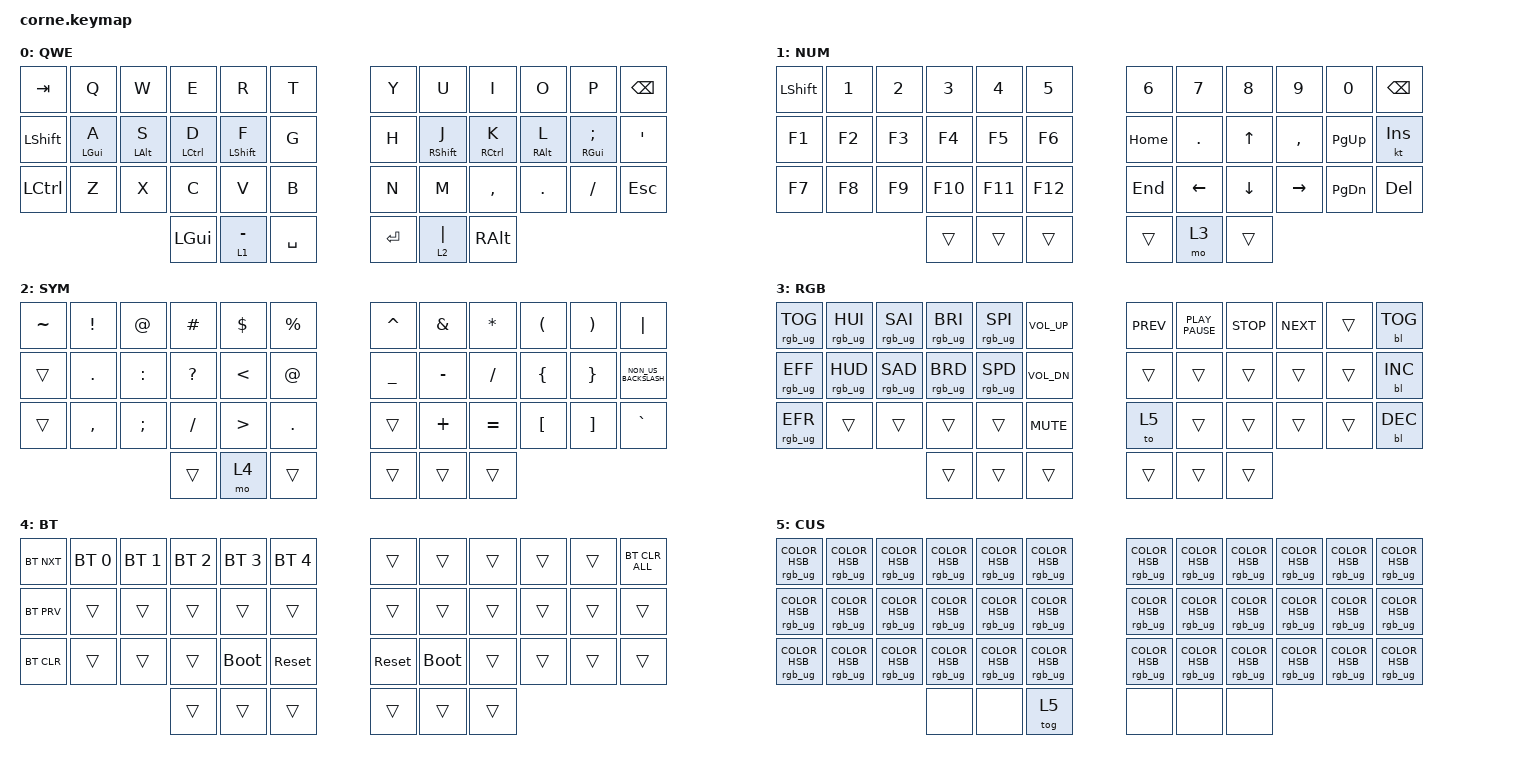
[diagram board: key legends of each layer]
/*
 * Copyright (c) 2020 The ZMK Contributors
 *
 * SPDX-License-Identifier: MIT
 */

#include <behaviors.dtsi>
#include <dt-bindings/zmk/backlight.h>
#include <dt-bindings/zmk/bt.h>
#include <dt-bindings/zmk/keys.h>
#include <dt-bindings/zmk/keys.h>
#include <dt-bindings/zmk/rgb.h>

/ {
    behaviors {
        hm: homerow_mods {
            compatible = "zmk,behavior-hold-tap";
            label = "HOMEROW_MODS";
            #binding-cells = <2>;
            tapping-term-ms = <200>;
            quick_tap_ms = <0>;
            flavor = "tap-preferred";
            bindings = <&kp>, <&kp>;

            quick-tap-ms = <180>;
            global-quick-tap;
        };

        ltq: ltq {
            compatible = "zmk,behavior-hold-tap";
            label = "LTQ";
            bindings = <&mo>, <&kp>;

            #binding-cells = <2>;
            tapping-term-ms = <600>;
            global-quick-tap;
            quick-tap-ms = <400>;
        };
    };

    combos {
        compatible = "zmk,combos";

        capswords {
            bindings = <&caps_word>;
            key-positions = <23 12>;
        };
        caps_lock {
            bindings = <&kp CAPS>;
            key-positions = <24 35>;
        };

        left_par {
            bindings = <&kp LEFT_PARENTHESIS>;
            key-positions = <3 4>;
            timeout-ms = < 100>;
        };

        right_par {
            bindings = <&kp RIGHT_PARENTHESIS>;
            key-positions = <7 8>;
            timeout-ms = <100>;
        };

        left_brace {
            bindings = <&kp LEFT_BRACE>;
            key-positions = <15 16>;
            timeout-ms = <100>;
        };

        right_brace {
            bindings = <&kp RIGHT_BRACE>;
            key-positions = <19 20>;
            timeout-ms = <100>;
        };

        left_bkt {
            bindings = <&kp LEFT_BRACKET>;
            key-positions = <27 28>;
            timeout-ms = <100>;
        };

        right_bkt {
            bindings = <&kp RBKT>;
            key-positions = <31 32>;
            timeout-ms = <100>;
        };

        pipe {
            bindings = <&kp PIPE>;
            key-positions = <5 6>;
            timeout-ms = <100>;
        };

        bac {
            bindings = <&kp BACKSLASH>;
            key-positions = <17 18>;
            timeout-ms = <100>;
        };

        slash {
            bindings = <&kp SLASH>;
            key-positions = <29 30>;
        };

        less_than {
            bindings = <&kp LESS_THAN>;
            key-positions = <3 2>;
        };

        greater_than {
            bindings = <&kp GREATER_THAN>;
            key-positions = <8 9>;
        };

        SQ {
            bindings = <&kp SINGLE_QUOTE>;
            key-positions = <14 15>;
        };

        DQ {
            bindings = <&kp DOUBLE_QUOTES>;
            key-positions = <21 20>;
        };

    };

    keymap {
        compatible = "zmk,keymap";

        QWE {
            bindings = <
&kp TAB           &kp Q           &kp W           &kp E         &kp R             &kp T        &kp Y      &kp U         &kp I          &kp O            &kp P               &kp BSPC
&kp LEFT_SHIFT    &hm LEFT_GUI A  &hm LEFT_ALT S  &hm LCTRL D   &hm LEFT_SHIFT F  &kp G        &kp H      &hm RSHIFT J  &hm RCTRL K    &hm RIGHT_ALT L  &hm RGUI SEMICOLON  &kp SQT
&kp LEFT_CONTROL  &kp Z           &kp X           &kp C         &kp V             &kp B        &kp N      &kp M         &kp COMMA      &kp DOT          &kp FSLH            &kp ESC
                                                  &kp LEFT_GUI  &ltq 1 MINUS      &kp SPACE    &kp ENTER  &ltq 2 PIPE   &kp RIGHT_ALT
            >;
        };

        NUM {
            bindings = <
&kp LEFT_SHIFT  &kp N1  &kp N2  &kp N3   &kp N4   &kp N5     &kp N6    &kp N7    &kp N8    &kp N9     &kp N0         &kp BSPC
&kp F1          &kp F2  &kp F3  &kp F4   &kp F5   &kp F6     &kp HOME  &kp DOT   &kp UP    &kp COMMA  &kp PAGE_UP    &kt INSERT
&kp F7          &kp F8  &kp F9  &kp F10  &kp F11  &kp F12    &kp END   &kp LEFT  &kp DOWN  &kp RIGHT  &kp PAGE_DOWN  &kp DELETE
                                &trans   &trans   &trans     &trans    &mo 3     &trans
            >;
        };

        SYM {
            bindings = <
&kp TILDE  &kp EXCLAMATION  &kp AT_SIGN  &kp POUND     &kp DOLLAR        &kp PERCENT    &kp CARET       &kp AMPERSAND  &kp ASTERISK  &kp LEFT_PARENTHESIS  &kp RIGHT_PARENTHESIS  &kp PIPE
&trans     &kp DOT          &kp COLON    &kp QUESTION  &kp LESS_THAN     &kp AT         &kp UNDERSCORE  &kp MINUS      &kp SLASH     &kp LEFT_BRACE        &kp RIGHT_BRACE        &kp NON_US_BACKSLASH
&trans     &kp COMMA        &kp SEMI     &kp SLASH     &kp GREATER_THAN  &kp DOT        &trans          &kp PLUS       &kp EQUAL     &kp LEFT_BRACKET      &kp RIGHT_BRACKET      &kp GRAVE
                                         &trans        &mo 4             &trans         &trans          &trans         &trans
            >;
        };

        RGB {
            bindings = <
&rgb_ug RGB_TOG  &rgb_ug RGB_HUI  &rgb_ug RGB_SAI  &rgb_ug RGB_BRI  &rgb_ug RGB_SPI  &kp C_VOLUME_UP    &kp K_PREV  &kp K_PLAY_PAUSE  &kp K_STOP  &kp K_NEXT  &trans  &bl BL_TOG
&rgb_ug RGB_EFF  &rgb_ug RGB_HUD  &rgb_ug RGB_SAD  &rgb_ug RGB_BRD  &rgb_ug RGB_SPD  &kp C_VOL_DN       &trans      &trans            &trans      &trans      &trans  &bl BL_INC
&rgb_ug RGB_EFR  &trans           &trans           &trans           &trans           &kp K_MUTE         &to 5       &trans            &trans      &trans      &trans  &bl BL_DEC
                                                   &trans           &trans           &trans             &trans      &trans            &trans
            >;
        };

        BT {
            bindings = <
&bt BT_NXT  &bt BT_SEL 0  &bt BT_SEL 1  &bt BT_SEL 2  &bt BT_SEL 3  &bt BT_SEL 4    &trans      &trans       &trans  &trans  &trans  &bt BT_CLR_ALL
&bt BT_PRV  &trans        &trans        &trans        &trans        &trans          &trans      &trans       &trans  &trans  &trans  &trans
&bt BT_CLR  &trans        &trans        &trans        &bootloader   &sys_reset      &sys_reset  &bootloader  &trans  &trans  &trans  &trans
                                        &trans        &trans        &trans          &trans      &trans       &trans
            >;
        };

        CUS {
            bindings = <
&rgb_ug RGB_COLOR_HSB(0,79,61)   &rgb_ug RGB_COLOR_HSB(30,67,58)   &rgb_ug RGB_COLOR_HSB(60,73,65)   &rgb_ug RGB_COLOR_HSB(90,86,62)   &rgb_ug RGB_COLOR_HSB(120,74,59)   &rgb_ug RGB_COLOR_HSB(150,67,57)     &rgb_ug RGB_COLOR_HSB(180,72,60)   &rgb_ug RGB_COLOR_HSB(210,82,61)   &rgb_ug RGB_COLOR_HSB(240,88,62)   &rgb_ug RGB_COLOR_HSB(270,88,63)   &rgb_ug RGB_COLOR_HSB(300,62,78)   &rgb_ug RGB_COLOR_HSB(330,78,70)
&rgb_ug RGB_COLOR_HSB(0,100,50)  &rgb_ug RGB_COLOR_HSB(30,100,50)  &rgb_ug RGB_COLOR_HSB(60,100,50)  &rgb_ug RGB_COLOR_HSB(90,100,50)  &rgb_ug RGB_COLOR_HSB(120,100,50)  &rgb_ug RGB_COLOR_HSB(150,100,50)    &rgb_ug RGB_COLOR_HSB(180,100,50)  &rgb_ug RGB_COLOR_HSB(210,100,50)  &rgb_ug RGB_COLOR_HSB(240,100,50)  &rgb_ug RGB_COLOR_HSB(270,100,50)  &rgb_ug RGB_COLOR_HSB(300,100,50)  &rgb_ug RGB_COLOR_HSB(330,100,50)
&rgb_ug RGB_COLOR_HSB(0,60,37)   &rgb_ug RGB_COLOR_HSB(30,80,33)   &rgb_ug RGB_COLOR_HSB(60,68,30)   &rgb_ug RGB_COLOR_HSB(90,69,33)   &rgb_ug RGB_COLOR_HSB(120,70,26)   &rgb_ug RGB_COLOR_HSB(150,64,35)     &rgb_ug RGB_COLOR_HSB(180,57,38)   &rgb_ug RGB_COLOR_HSB(210,73,35)   &rgb_ug RGB_COLOR_HSB(240,61,31)   &rgb_ug RGB_COLOR_HSB(270,48,27)   &rgb_ug RGB_COLOR_HSB(300,52,33)   &rgb_ug RGB_COLOR_HSB(330,78,27)
                                                                                                     &none                             &none                              &tog 5                               &none                              &none                              &none
            >;
        };
    };
};
